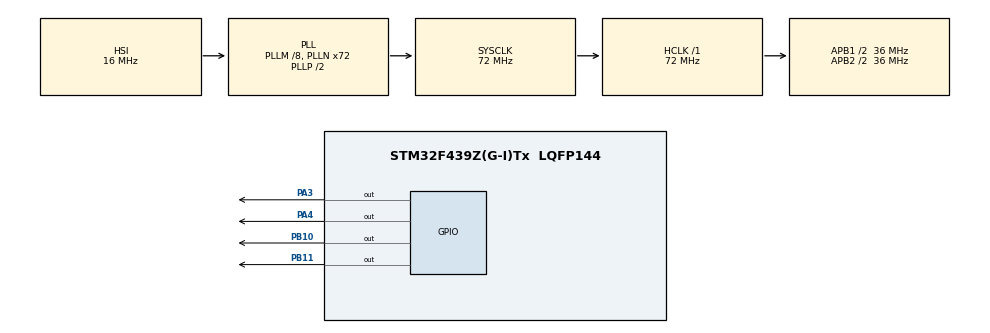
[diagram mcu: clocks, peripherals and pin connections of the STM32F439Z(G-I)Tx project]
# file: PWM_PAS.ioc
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Mcu.Family=STM32F4
Mcu.Name=STM32F439Z(G-I)Tx
Mcu.Package=LQFP144
NVIC.PriorityGroup=NVIC_PRIORITYGROUP_4
NVIC.TIM2_IRQn=true\:0\:0\:false\:false\:true\:true\:true\:true
PA13.Mode=Serial_Wire
PA13.Signal=SYS_JTMS-SWDIO
PA14.Mode=Serial_Wire
PA14.Signal=SYS_JTCK-SWCLK
PA3.Signal=GPIO_Output
PA4.Signal=GPIO_Output
PB10.Signal=GPIO_Output
PB11.Signal=GPIO_Output
PH0/OSC_IN.Mode=HSE-External-Oscillator
PH0/OSC_IN.Signal=RCC_OSC_IN
PH1/OSC_OUT.Mode=HSE-External-Oscillator
PH1/OSC_OUT.Signal=RCC_OSC_OUT
ProjectManager.HeapSize=0x200
ProjectManager.StackSize=0x400
ProjectManager.TargetToolchain=STM32CubeIDE
RCC.48MHZClocksFreq_Value=36000000
RCC.AHBFreq_Value=72000000
RCC.APB1CLKDivider=RCC_HCLK_DIV2
RCC.APB1Freq_Value=36000000
RCC.APB1TimFreq_Value=72000000
RCC.APB2CLKDivider=RCC_HCLK_DIV2
RCC.APB2Freq_Value=36000000
RCC.APB2TimFreq_Value=72000000
RCC.CortexFreq_Value=72000000
RCC.HCLKFreq_Value=72000000
RCC.HSE_VALUE=25000000
RCC.HSI_VALUE=16000000
RCC.LSE_VALUE=32768
RCC.PLLM=8
RCC.PLLN=72
RCC.SYSCLKFreq_VALUE=72000000
RCC.SYSCLKSource=RCC_SYSCLKSOURCE_PLLCLK
RCC.VCOOutputFreq_Value=144000000
TIM2.Period=65536
TIM2.Prescaler=71
VP_TIM2_VS_ClockSourceINT.Mode=Internal
board=custom

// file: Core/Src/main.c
/* USER CODE BEGIN Header */
/**
  ******************************************************************************
  * @file           : main.c
  * @brief          : Main program body
  ******************************************************************************
  * @attention
  *
  * Copyright (c) 2024 STMicroelectronics.
  * All rights reserved.
  *
  * This software is licensed under terms that can be found in the LICENSE file
  * in the root directory of this software component.
  * If no LICENSE file comes with this software, it is provided AS-IS.
  *
  ******************************************************************************
  */
/* USER CODE END Header */
#include "main.h"

TIM_HandleTypeDef htim2;

void SystemClock_Config(void);
static void MX_GPIO_Init(void);
static void MX_TIM2_Init(void);

/* USER CODE BEGIN 0 */
#define IN1_PIN GPIO_PIN_10
#define IN1_PORT GPIOB
#define IN2_PIN GPIO_PIN_11
#define IN2_PORT GPIOB
#define IN3_PIN GPIO_PIN_4
#define IN3_PORT GPIOA
#define IN4_PIN GPIO_PIN_3
#define IN4_PORT GPIOA
int stepNumber;          // which step the motor is on

void motorDelay(uint32_t delay)
{
    if (delay < 60000)
    {
        __HAL_TIM_SET_COUNTER(&htim2, 0);
        while (__HAL_TIM_GET_COUNTER(&htim2) < delay);
    }
    else
    {
        HAL_Delay(delay/1000);
    }
}

void motorOn()
{
    // Find out which step the motor is on
    switch (stepNumber)
    {
      case 1:
          HAL_GPIO_WritePin(IN1_PORT, IN1_PIN, 1);   // IN1
          HAL_GPIO_WritePin(IN2_PORT, IN2_PIN, GPIO_PIN_RESET); // IN2
          HAL_GPIO_WritePin(IN3_PORT, IN3_PIN, GPIO_PIN_RESET); // IN3
          HAL_GPIO_WritePin(IN4_PORT, IN4_PIN, GPIO_PIN_SET);   // IN4
          HAL_Delay(9);
        break;
      case 2:
          HAL_GPIO_WritePin(IN1_PORT, IN1_PIN, GPIO_PIN_SET);   // IN1
          HAL_GPIO_WritePin(IN2_PORT, IN2_PIN, GPIO_PIN_RESET); // IN2
          HAL_GPIO_WritePin(IN3_PORT, IN3_PIN, GPIO_PIN_SET);   // IN3
          HAL_GPIO_WritePin(IN4_PORT, IN4_PIN, GPIO_PIN_RESET); // IN4
          HAL_Delay(9);
        break;
      case 3:
          HAL_GPIO_WritePin(IN1_PORT, IN1_PIN, GPIO_PIN_RESET); // IN1
          HAL_GPIO_WritePin(IN2_PORT, IN2_PIN, GPIO_PIN_SET);   // IN2
          HAL_GPIO_WritePin(IN3_PORT, IN3_PIN, GPIO_PIN_SET);   // IN3
          HAL_GPIO_WritePin(IN4_PORT, IN4_PIN, GPIO_PIN_RESET); // IN4
          HAL_Delay(9);
        break;
      case 4:
          HAL_GPIO_WritePin(IN1_PORT, IN1_PIN, GPIO_PIN_RESET); // IN1
          HAL_GPIO_WritePin(IN2_PORT, IN2_PIN, GPIO_PIN_SET);   // IN2
          HAL_GPIO_WritePin(IN3_PORT, IN3_PIN, GPIO_PIN_RESET); // IN3
          HAL_GPIO_WritePin(IN4_PORT, IN4_PIN, GPIO_PIN_SET);   // IN4
          HAL_Delay(9);
        break;
      default:
        break;
    }
}
void motorOff()
{
    // Switch off the idle current to the motor
    // Otherwise L298N module will heat up
    HAL_GPIO_WritePin(IN1_PORT, IN1_PIN, GPIO_PIN_RESET); // IN1
    HAL_GPIO_WritePin(IN2_PORT, IN2_PIN, GPIO_PIN_RESET); // IN2
    HAL_GPIO_WritePin(IN3_PORT, IN3_PIN, GPIO_PIN_RESET); // IN3
    HAL_GPIO_WritePin(IN4_PORT, IN4_PIN, GPIO_PIN_RESET); // IN4
}
void stepCV (int steps, float speed) // CV - Clockwise
{
  uint32_t delay = 60*1000*1000/200/speed;
  for(int x=0; x<steps; x=x+1)
  {
    // Step to the next step rotaion derction
    switch (stepNumber)
    {
      case 1:
        HAL_GPIO_WritePin(IN1_PORT, IN1_PIN, GPIO_PIN_SET);   // IN1
        HAL_GPIO_WritePin(IN2_PORT, IN2_PIN, GPIO_PIN_RESET); // IN2
        HAL_GPIO_WritePin(IN3_PORT, IN3_PIN, GPIO_PIN_SET);   // IN3
        HAL_GPIO_WritePin(IN4_PORT, IN4_PIN, GPIO_PIN_RESET); // IN4
        motorDelay(delay);
        stepNumber = 2;
        break;
      case 2:
        HAL_GPIO_WritePin(IN1_PORT, IN1_PIN, GPIO_PIN_RESET); // IN1
        HAL_GPIO_WritePin(IN2_PORT, IN2_PIN, GPIO_PIN_SET);   // IN2
        HAL_GPIO_WritePin(IN3_PORT, IN3_PIN, GPIO_PIN_SET);   // IN3
        HAL_GPIO_WritePin(IN4_PORT, IN4_PIN, GPIO_PIN_RESET); // IN4
        motorDelay(delay);
        stepNumber = 3;
        break;
      case 3:

        HAL_GPIO_WritePin(IN1_PORT, IN1_PIN, GPIO_PIN_RESET); // IN1
        HAL_GPIO_WritePin(IN2_PORT, IN2_PIN, GPIO_PIN_SET);   // IN2
        HAL_GPIO_WritePin(IN3_PORT, IN3_PIN, GPIO_PIN_RESET); // IN3
        motorDelay(delay);
        stepNumber = 4;
        break;
      case 4:
        HAL_GPIO_WritePin(IN1_PORT, IN1_PIN, GPIO_PIN_SET);   // IN1
        HAL_GPIO_WritePin(IN2_PORT, IN2_PIN, GPIO_PIN_RESET); // IN2
        HAL_GPIO_WritePin(IN3_PORT, IN3_PIN, GPIO_PIN_RESET); // IN3
        HAL_GPIO_WritePin(IN4_PORT, IN4_PIN, GPIO_PIN_SET);   // IN4
        motorDelay(delay);
        stepNumber = 1;
        break;
      default:
        break;
    }
  }
}
void stepCCV (int steps, float speed) // CCV - Counter Clockwise
{
  uint32_t delay = 60*1000*1000/200/speed;
  for(int x=0; x<steps; x=x+1)
  {
    // Step to the previous step
    switch (stepNumber)
    {
      case 1:
        HAL_GPIO_WritePin(IN1_PORT, IN1_PIN, GPIO_PIN_RESET); // IN1
        HAL_GPIO_WritePin(IN2_PORT, IN2_PIN, GPIO_PIN_SET);   // IN2
        HAL_GPIO_WritePin(IN3_PORT, IN3_PIN, GPIO_PIN_RESET); // IN3
        HAL_GPIO_WritePin(IN4_PORT, IN4_PIN, GPIO_PIN_SET);   // IN4
        motorDelay(delay);
        stepNumber = 4;
        break;
      case 2:
        HAL_GPIO_WritePin(IN1_PORT, IN1_PIN, GPIO_PIN_SET);   // IN1
        HAL_GPIO_WritePin(IN2_PORT, IN2_PIN, GPIO_PIN_RESET); // IN2
        HAL_GPIO_WritePin(IN3_PORT, IN3_PIN, GPIO_PIN_RESET); // IN3
        HAL_GPIO_WritePin(IN4_PORT, IN4_PIN, GPIO_PIN_SET);   // IN4
        motorDelay(delay);
        stepNumber = 1;
        break;
      case 3:
        HAL_GPIO_WritePin(IN1_PORT, IN1_PIN, GPIO_PIN_SET);   // IN1
        HAL_GPIO_WritePin(IN2_PORT, IN2_PIN, GPIO_PIN_RESET); // IN2
        HAL_GPIO_WritePin(IN3_PORT, IN3_PIN, GPIO_PIN_SET);   // IN3
        HAL_GPIO_WritePin(IN4_PORT, IN4_PIN, GPIO_PIN_RESET); // IN4
        motorDelay(delay);
        stepNumber = 2;
        break;
      case 4:
        HAL_GPIO_WritePin(IN1_PORT, IN1_PIN, GPIO_PIN_RESET); // IN1
        HAL_GPIO_WritePin(IN2_PORT, IN2_PIN, GPIO_PIN_SET);   // IN2
        HAL_GPIO_WritePin(IN3_PORT, IN3_PIN, GPIO_PIN_SET);   // IN3
        HAL_GPIO_WritePin(IN4_PORT, IN4_PIN, GPIO_PIN_RESET); // IN4
        motorDelay(delay);
        stepNumber = 3;
        break;
      default:
        break;
    }
  }
}

/* USER CODE END 0 */

int main(void)
{

  /* MCU Configuration--------------------------------------------------------*/

  /* Reset of all peripherals, Initializes the Flash interface and the Systick. */
  HAL_Init();

  /* Configure the system clock */
  SystemClock_Config();

  /* Initialize all configured peripherals */
  MX_GPIO_Init();
  MX_TIM2_Init();
  /* USER CODE BEGIN 2 */
  HAL_TIM_Base_Start(&htim2);
  stepNumber = 1;
  /* USER CODE END 2 */

  /* Infinite loop */
  /* USER CODE BEGIN WHILE */
  while (1)
  {
	  motorOn();
	      stepCV(200,150.0f); // Clockwise 200 steps 150 RPM
	      HAL_Delay(2000);

	      motorOn();
	      stepCCV(100,150.0f); // Counter Clockwise 100 steps 150 RPM
	      HAL_Delay(2000);

	      motorOn();
	      stepCV(7,50.f); // Clockwise 7 steps 1/2 RPM
	      HAL_Delay(2000);

	      motorOn();
	      stepCCV(9,25.f); // Counter Clockwise 9 steps 1/2 RPM
	      HAL_Delay(2000);

	      motorOn();
	      stepCV(1500,30.0f); // Clockwise 1500 steps 30 RPM
	      motorOff();
	      HAL_Delay(2000);
    /* USER CODE END WHILE */

  }
}

void SystemClock_Config(void)
{
  RCC_OscInitTypeDef RCC_OscInitStruct = {0};
  RCC_ClkInitTypeDef RCC_ClkInitStruct = {0};

  /** Configure the main internal regulator output voltage
  */
  __HAL_RCC_PWR_CLK_ENABLE();
  __HAL_PWR_VOLTAGESCALING_CONFIG(PWR_REGULATOR_VOLTAGE_SCALE3);

  /** Initializes the RCC Oscillators according to the specified parameters
  * in the RCC_OscInitTypeDef structure.
  */
  RCC_OscInitStruct.OscillatorType = RCC_OSCILLATORTYPE_HSI;
  RCC_OscInitStruct.HSIState = RCC_HSI_ON;
  RCC_OscInitStruct.HSICalibrationValue = RCC_HSICALIBRATION_DEFAULT;
  RCC_OscInitStruct.PLL.PLLState = RCC_PLL_ON;
  RCC_OscInitStruct.PLL.PLLSource = RCC_PLLSOURCE_HSI;
  RCC_OscInitStruct.PLL.PLLM = 8;
  RCC_OscInitStruct.PLL.PLLN = 72;
  RCC_OscInitStruct.PLL.PLLP = RCC_PLLP_DIV2;
  RCC_OscInitStruct.PLL.PLLQ = 4;
  if (HAL_RCC_OscConfig(&RCC_OscInitStruct) != HAL_OK)
  {
    Error_Handler();
  }

  /** Initializes the CPU, AHB and APB buses clocks
  */
  RCC_ClkInitStruct.ClockType = RCC_CLOCKTYPE_HCLK|RCC_CLOCKTYPE_SYSCLK
                              |RCC_CLOCKTYPE_PCLK1|RCC_CLOCKTYPE_PCLK2;
  RCC_ClkInitStruct.SYSCLKSource = RCC_SYSCLKSOURCE_PLLCLK;
  RCC_ClkInitStruct.AHBCLKDivider = RCC_SYSCLK_DIV1;
  RCC_ClkInitStruct.APB1CLKDivider = RCC_HCLK_DIV2;
  RCC_ClkInitStruct.APB2CLKDivider = RCC_HCLK_DIV2;

  if (HAL_RCC_ClockConfig(&RCC_ClkInitStruct, FLASH_LATENCY_2) != HAL_OK)
  {
    Error_Handler();
  }
}

static void MX_TIM2_Init(void)
{

  TIM_ClockConfigTypeDef sClockSourceConfig = {0};
  TIM_MasterConfigTypeDef sMasterConfig = {0};

  htim2.Instance = TIM2;
  htim2.Init.Prescaler = 71;
  htim2.Init.CounterMode = TIM_COUNTERMODE_UP;
  htim2.Init.Period = 65536;
  htim2.Init.ClockDivision = TIM_CLOCKDIVISION_DIV1;
  htim2.Init.AutoReloadPreload = TIM_AUTORELOAD_PRELOAD_DISABLE;
  if (HAL_TIM_Base_Init(&htim2) != HAL_OK)
  {
    Error_Handler();
  }
  sClockSourceConfig.ClockSource = TIM_CLOCKSOURCE_INTERNAL;
  if (HAL_TIM_ConfigClockSource(&htim2, &sClockSourceConfig) != HAL_OK)
  {
    Error_Handler();
  }
  sMasterConfig.MasterOutputTrigger = TIM_TRGO_RESET;
  sMasterConfig.MasterSlaveMode = TIM_MASTERSLAVEMODE_DISABLE;
  if (HAL_TIMEx_MasterConfigSynchronization(&htim2, &sMasterConfig) != HAL_OK)
  {
    Error_Handler();
  }

}

static void MX_GPIO_Init(void)
{
  GPIO_InitTypeDef GPIO_InitStruct = {0};

  /* GPIO Ports Clock Enable */
  __HAL_RCC_GPIOH_CLK_ENABLE();
  __HAL_RCC_GPIOA_CLK_ENABLE();
  __HAL_RCC_GPIOB_CLK_ENABLE();

  /*Configure GPIO pin Output Level */
  HAL_GPIO_WritePin(GPIOA, GPIO_PIN_3|GPIO_PIN_4, GPIO_PIN_RESET);

  /*Configure GPIO pin Output Level */
  HAL_GPIO_WritePin(GPIOB, GPIO_PIN_10|GPIO_PIN_11, GPIO_PIN_RESET);

  /*Configure GPIO pins : PA3 PA4 */
  GPIO_InitStruct.Pin = GPIO_PIN_3|GPIO_PIN_4;
  GPIO_InitStruct.Mode = GPIO_MODE_OUTPUT_PP;
  GPIO_InitStruct.Pull = GPIO_NOPULL;
  GPIO_InitStruct.Speed = GPIO_SPEED_FREQ_LOW;
  HAL_GPIO_Init(GPIOA, &GPIO_InitStruct);

  /*Configure GPIO pins : PB10 PB11 */
  GPIO_InitStruct.Pin = GPIO_PIN_10|GPIO_PIN_11;
  GPIO_InitStruct.Mode = GPIO_MODE_OUTPUT_PP;
  GPIO_InitStruct.Pull = GPIO_NOPULL;
  GPIO_InitStruct.Speed = GPIO_SPEED_FREQ_LOW;
  HAL_GPIO_Init(GPIOB, &GPIO_InitStruct);

}

void Error_Handler(void)
{
  __disable_irq();
  while (1)
  {
  }
}
